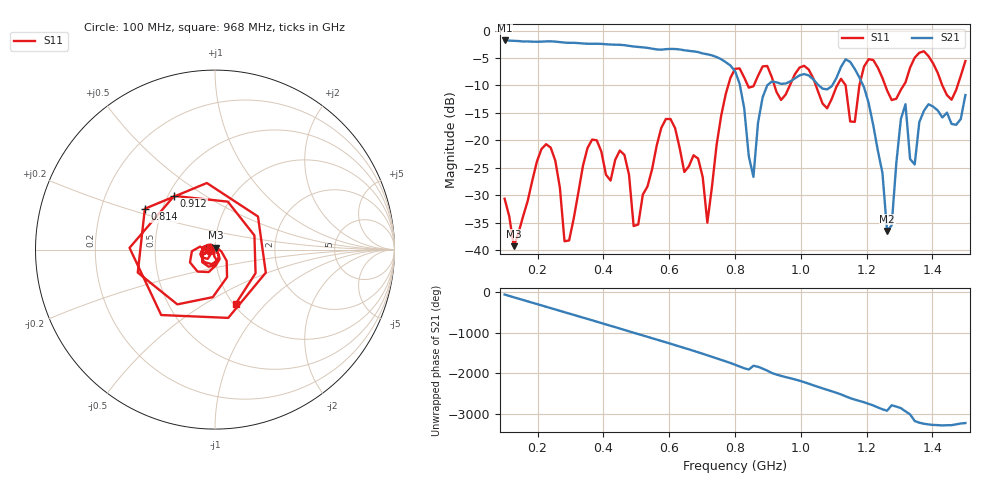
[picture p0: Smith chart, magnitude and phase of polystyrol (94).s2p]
! NanoVNA-App
! Date: 2025-09-26 09:42:37
! Start: 100MHz Stop: 1,5GHz Points: 101
! S-Parameter data: F S11 S21 S12 S22
# Hz S RI R 50
!  Frequency  S11_Real  S11_Imag  S21_Real  S21_Imag  S12_Real  S12_Imag  S22_Real  S22_Imag
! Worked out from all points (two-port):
!   101 points, 100 MHz to 1.5 GHz, reference 50 ohm
!   highest |S21| = -1.79 dB at 100 MHz (marker M1); lowest = -36.5 dB at 1.262 GHz (marker M2)
!   |S21| within 3 dB of the highest: start of sweep to 743.1 MHz
!   lowest |S11| = -39.3 dB at 128 MHz (marker M3), VSWR 1.02, Z = 50.3 + j1.05 ohm
!   |S11| at or under -10 dB: start of sweep to 779.4 MHz; 1.046 GHz to 1.11 GHz (64.74 MHz wide, 6 % of centre); 1.256 GHz to 1.312 GHz (55.57 MHz wide, 4.33 % of centre) (the widest 3 of 7)
!   S12 and S22 are empty: the file has one direction only
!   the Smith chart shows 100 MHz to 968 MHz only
!   S11 on the Smith chart (normalised r, x): 100 MHz: 0.94, -0.01; 814 MHz: 0.40, +0.23; 912 MHz: 0.54, +0.37; 968 MHz: 1.02, -0.69
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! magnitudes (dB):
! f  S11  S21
! 100 MHz  -30.7  -1.8
! 128 MHz  -39.3  -1.9
! 212 MHz  -21.6  -2.0
! 282 MHz  -38.4  -2.2
! 338 MHz  -24.7  -2.3
! 464 MHz  -22.7  -2.6
! 506 MHz  -35.4  -3.0
! 576 MHz  -17.7  -3.5
! 688 MHz  -23.3  -3.9
! 716 MHz  -35.0  -4.3
! 800 MHz  -7.0  -7.4
! 814 MHz  -6.9  -9.7
! 856 MHz  -10.2  -26.7
! 912 MHz  -8.5  -9.3
! 968 MHz  -9.8  -9.3
! 1.038 GHz  -8.7  -8.9
! 1.178 GHz  -9.9  -8.5
! 1.262 GHz  -10.9  -36.5
! 1.276 GHz  -12.7  -35.5
! 1.318 GHz  -9.4  -13.4
! 1.346 GHz  -4.9  -24.4
! 1.5 GHz  -5.5  -11.7
